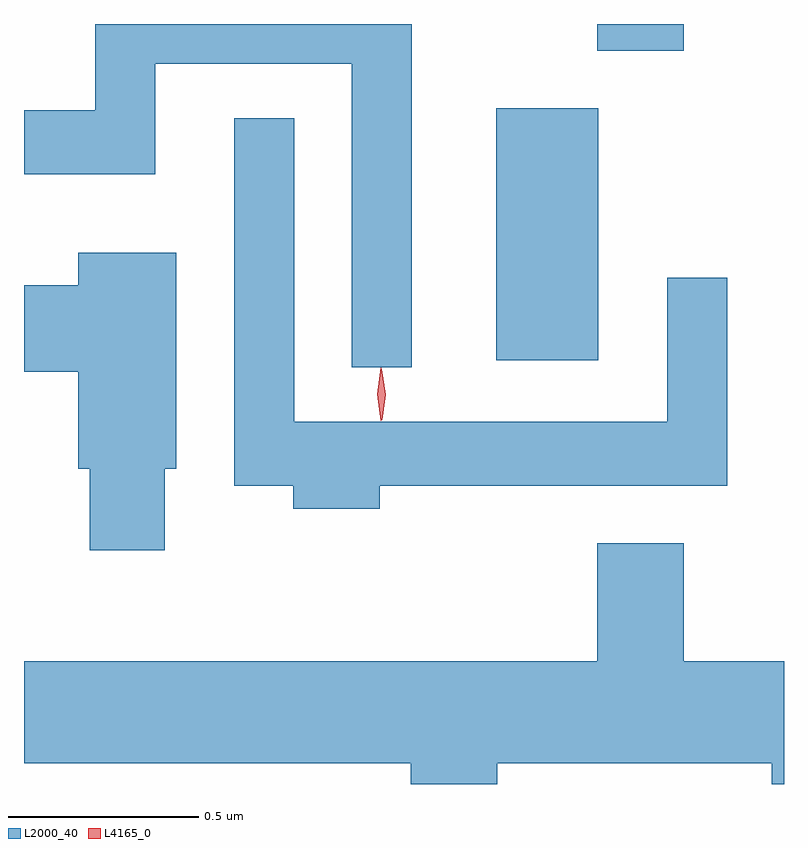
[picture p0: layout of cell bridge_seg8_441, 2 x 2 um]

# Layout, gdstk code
import gdstk
lib = gdstk.Library(unit=1e-6, precision=1e-09)
def R(c, l, rs):  # rectangles x0, y0, x1, y1
    for r in rs: c.add(gdstk.rectangle(r[:2], r[2:], *l))
def P(c, l, *ps):  # polygons
    for p in ps: c.add(gdstk.Polygon(p, *l))
L2000_40 = (2000, 40)
L4165_0 = (4165, 0)

bridge_seg8_441 = lib.new_cell('bridge_seg8_441')
R(bridge_seg8_441, L2000_40, [(880.886,1850.796,881.154,1851.459), (881.151,1851.611,881.379,1851.681)])
P(bridge_seg8_441, L2000_40, [(880.664,1851.681),(879.831,1851.681),(879.831,1851.454),(879.643,1851.454),(879.643,1851.286),(879.989,1851.286),(879.989,1851.576),(880.506,1851.576),(880.506,1850.778),(880.664,1850.778)],
  [(880.579,1850.466),(881.494,1850.466),(881.494,1851.013),(881.336,1851.013),(881.336,1850.634),(880.354,1850.634),(880.354,1851.433),(880.196,1851.433),(880.196,1850.466),(880.351,1850.466),(880.351,1850.406),(880.579,1850.406)],
  [(880.014,1850.511),(880.044,1850.511),(880.044,1851.079),(879.786,1851.079),(879.786,1850.994),(879.643,1850.994),(879.643,1850.766),(879.786,1850.766),(879.786,1850.511),(879.816,1850.511),(879.816,1850.296),(880.014,1850.296)],
  [(880.889,1849.736),(881.611,1849.736),(881.611,1849.681),(881.643,1849.681),(881.643,1850.004),(881.379,1850.004),(881.379,1850.314),(881.151,1850.314),(881.151,1850.004),(879.643,1850.004),(879.643,1849.736),(880.661,1849.736),(880.661,1849.681),(880.889,1849.681)])
P(bridge_seg8_441, L4165_0, [(880.582,1850.637),(880.582,1850.637),(880.572,1850.707),(880.582,1850.776),(880.582,1850.776),(880.583,1850.776),(880.592,1850.707),(880.583,1850.637)],
  [(880.585,1850.639),(880.585,1850.64),(880.575,1850.706),(880.584,1850.772),(880.585,1850.773),(880.585,1850.772),(880.595,1850.706),(880.586,1850.64)])

lib.write_gds('bridge_seg8_441.gds')
